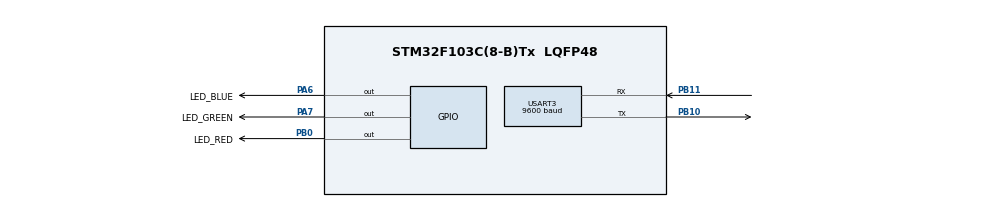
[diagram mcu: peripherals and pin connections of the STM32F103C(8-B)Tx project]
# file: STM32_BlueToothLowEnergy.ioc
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Dma.Request0=USART3_RX
Dma.Request1=USART3_TX
Dma.USART3_RX.0.Direction=DMA_PERIPH_TO_MEMORY
Dma.USART3_RX.0.Instance=DMA1_Channel3
Dma.USART3_RX.0.MemDataAlignment=DMA_MDATAALIGN_BYTE
Dma.USART3_RX.0.MemInc=DMA_MINC_ENABLE
Dma.USART3_RX.0.Mode=DMA_NORMAL
Dma.USART3_RX.0.PeriphDataAlignment=DMA_PDATAALIGN_BYTE
Dma.USART3_RX.0.PeriphInc=DMA_PINC_DISABLE
Dma.USART3_RX.0.Priority=DMA_PRIORITY_LOW
Dma.USART3_TX.1.Direction=DMA_MEMORY_TO_PERIPH
Dma.USART3_TX.1.Instance=DMA1_Channel2
Dma.USART3_TX.1.MemDataAlignment=DMA_MDATAALIGN_BYTE
Dma.USART3_TX.1.MemInc=DMA_MINC_ENABLE
Dma.USART3_TX.1.Mode=DMA_NORMAL
Dma.USART3_TX.1.PeriphDataAlignment=DMA_PDATAALIGN_BYTE
Dma.USART3_TX.1.PeriphInc=DMA_PINC_DISABLE
Dma.USART3_TX.1.Priority=DMA_PRIORITY_LOW
Mcu.Family=STM32F1
Mcu.Name=STM32F103C(8-B)Tx
Mcu.Package=LQFP48
NVIC.DMA1_Channel2_IRQn=true\:0\:0\:false\:false\:true\:false\:true\:true
NVIC.DMA1_Channel3_IRQn=true\:0\:0\:false\:false\:true\:false\:true\:true
NVIC.PriorityGroup=NVIC_PRIORITYGROUP_4
NVIC.USART3_IRQn=true\:0\:0\:false\:false\:true\:true\:true\:true
PA13.Mode=Serial_Wire
PA13.Signal=SYS_JTMS-SWDIO
PA14.Mode=Serial_Wire
PA14.Signal=SYS_JTCK-SWCLK
PA6.GPIO_Label=LED_BLUE
PA6.Signal=GPIO_Output
PA7.GPIO_Label=LED_GREEN
PA7.Signal=GPIO_Output
PB0.GPIO_Label=LED_RED
PB0.Signal=GPIO_Output
PB10.Mode=Asynchronous
PB10.Signal=USART3_TX
PB11.Mode=Asynchronous
PB11.Signal=USART3_RX
ProjectManager.HeapSize=0x200
ProjectManager.StackSize=0x400
ProjectManager.TargetToolchain=STM32CubeIDE
RCC.APB1Freq_Value=8000000
RCC.APB2Freq_Value=8000000
USART3.BaudRate=9600
USART3.VirtualMode=VM_ASYNC
board=custom

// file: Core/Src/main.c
/* USER CODE BEGIN Header */
/**
  ******************************************************************************
  * @file           : main.c
  * @brief          : Main program body
  ******************************************************************************
  * @attention
  *
  * Copyright (c) 2025 STMicroelectronics.
  * All rights reserved.
  *
  * This software is licensed under terms that can be found in the LICENSE file
  * in the root directory of this software component.
  * If no LICENSE file comes with this software, it is provided AS-IS.
  *
  ******************************************************************************
  */
/* USER CODE END Header */
#include "main.h"

UART_HandleTypeDef huart3;
DMA_HandleTypeDef hdma_usart3_rx;
DMA_HandleTypeDef hdma_usart3_tx;

/* USER CODE BEGIN PV */
uint8_t receiveData[30];
GPIO_PinState State=GPIO_PIN_RESET;
uint8_t answer[10]="HEAD OK";
/* USER CODE END PV */

void SystemClock_Config(void);
static void MX_GPIO_Init(void);
static void MX_DMA_Init(void);
static void MX_USART3_UART_Init(void);

/* USER CODE BEGIN 0 */
void HAL_UARTEx_RxEventCallback(UART_HandleTypeDef *huart, uint16_t Size)
{

	if(huart!=&huart3)	return;
	HAL_UART_Transmit_DMA(&huart3, receiveData, Size);
	HAL_UART_Transmit_DMA(&huart3, answer, 10);
	//协议(接收）
	//包头（第0位）0xAA 第一位为长度位 最后一位为校验和
		if (receiveData[0]==0xAA) {

			if(receiveData[1]==Size)
			{
				uint8_t sum=0;
				for ( int i= 0; i < Size-1; i++) {
					sum+=receiveData[i];
				}
				if (sum==receiveData[Size-1]) {

					for (int j= 2; j < Size-1;j+=2 ) {

						switch(receiveData[j+1])
						{
						case 0x00:
							State=GPIO_PIN_RESET;
							break;
						case 0xFF:
							State=GPIO_PIN_SET;
							break;
						default:
							break;
						}
						switch (receiveData[j]) {
							case 0x01:
								HAL_GPIO_WritePin(LED_RED_GPIO_Port, LED_RED_Pin, State);
								break;
							case 0x02:
								HAL_GPIO_WritePin(LED_GREEN_GPIO_Port, LED_GREEN_Pin, State);
								break;
							case 0x03:
								HAL_GPIO_WritePin(LED_GREEN_GPIO_Port, LED_BLUE_Pin, State);
								break;
							default:
								break;
						}
					}
				}

			}
		}

	//再次开启中断接收
	HAL_UARTEx_ReceiveToIdle_DMA(&huart3, receiveData, sizeof(receiveData));
	  __HAL_DMA_DISABLE_IT(&hdma_usart3_rx,DMA_IT_HT);
}
/* USER CODE END 0 */

int main(void)
{

  /* MCU Configuration--------------------------------------------------------*/

  /* Reset of all peripherals, Initializes the Flash interface and the Systick. */
  HAL_Init();

  /* Configure the system clock */
  SystemClock_Config();

  /* Initialize all configured peripherals */
  MX_GPIO_Init();
  MX_DMA_Init();
  MX_USART3_UART_Init();
  /* USER CODE BEGIN 2 */
  HAL_UARTEx_ReceiveToIdle_DMA(&huart3, receiveData, sizeof(receiveData));
  __HAL_DMA_DISABLE_IT(&hdma_usart3_rx,DMA_IT_HT);
  /* USER CODE END 2 */

  /* Infinite loop */
  while (1)
  {

  }
}

void SystemClock_Config(void)
{
  RCC_OscInitTypeDef RCC_OscInitStruct = {0};
  RCC_ClkInitTypeDef RCC_ClkInitStruct = {0};

  /** Initializes the RCC Oscillators according to the specified parameters
  * in the RCC_OscInitTypeDef structure.
  */
  RCC_OscInitStruct.OscillatorType = RCC_OSCILLATORTYPE_HSI;
  RCC_OscInitStruct.HSIState = RCC_HSI_ON;
  RCC_OscInitStruct.HSICalibrationValue = RCC_HSICALIBRATION_DEFAULT;
  RCC_OscInitStruct.PLL.PLLState = RCC_PLL_NONE;
  if (HAL_RCC_OscConfig(&RCC_OscInitStruct) != HAL_OK)
  {
    Error_Handler();
  }

  /** Initializes the CPU, AHB and APB buses clocks
  */
  RCC_ClkInitStruct.ClockType = RCC_CLOCKTYPE_HCLK|RCC_CLOCKTYPE_SYSCLK
                              |RCC_CLOCKTYPE_PCLK1|RCC_CLOCKTYPE_PCLK2;
  RCC_ClkInitStruct.SYSCLKSource = RCC_SYSCLKSOURCE_HSI;
  RCC_ClkInitStruct.AHBCLKDivider = RCC_SYSCLK_DIV1;
  RCC_ClkInitStruct.APB1CLKDivider = RCC_HCLK_DIV1;
  RCC_ClkInitStruct.APB2CLKDivider = RCC_HCLK_DIV1;

  if (HAL_RCC_ClockConfig(&RCC_ClkInitStruct, FLASH_LATENCY_0) != HAL_OK)
  {
    Error_Handler();
  }
}

static void MX_USART3_UART_Init(void)
{

  huart3.Instance = USART3;
  huart3.Init.BaudRate = 9600;
  huart3.Init.WordLength = UART_WORDLENGTH_8B;
  huart3.Init.StopBits = UART_STOPBITS_1;
  huart3.Init.Parity = UART_PARITY_NONE;
  huart3.Init.Mode = UART_MODE_TX_RX;
  huart3.Init.HwFlowCtl = UART_HWCONTROL_NONE;
  huart3.Init.OverSampling = UART_OVERSAMPLING_16;
  if (HAL_UART_Init(&huart3) != HAL_OK)
  {
    Error_Handler();
  }

}

static void MX_DMA_Init(void)
{

  /* DMA controller clock enable */
  __HAL_RCC_DMA1_CLK_ENABLE();

  /* DMA interrupt init */
  /* DMA1_Channel2_IRQn interrupt configuration */
  HAL_NVIC_SetPriority(DMA1_Channel2_IRQn, 0, 0);
  HAL_NVIC_EnableIRQ(DMA1_Channel2_IRQn);
  /* DMA1_Channel3_IRQn interrupt configuration */
  HAL_NVIC_SetPriority(DMA1_Channel3_IRQn, 0, 0);
  HAL_NVIC_EnableIRQ(DMA1_Channel3_IRQn);

}

static void MX_GPIO_Init(void)
{
  GPIO_InitTypeDef GPIO_InitStruct = {0};

  /* GPIO Ports Clock Enable */
  __HAL_RCC_GPIOA_CLK_ENABLE();
  __HAL_RCC_GPIOB_CLK_ENABLE();

  /*Configure GPIO pin Output Level */
  HAL_GPIO_WritePin(GPIOA, LED_BLUE_Pin|LED_GREEN_Pin, GPIO_PIN_RESET);

  /*Configure GPIO pin Output Level */
  HAL_GPIO_WritePin(LED_RED_GPIO_Port, LED_RED_Pin, GPIO_PIN_RESET);

  /*Configure GPIO pins : LED_BLUE_Pin LED_GREEN_Pin */
  GPIO_InitStruct.Pin = LED_BLUE_Pin|LED_GREEN_Pin;
  GPIO_InitStruct.Mode = GPIO_MODE_OUTPUT_PP;
  GPIO_InitStruct.Pull = GPIO_NOPULL;
  GPIO_InitStruct.Speed = GPIO_SPEED_FREQ_LOW;
  HAL_GPIO_Init(GPIOA, &GPIO_InitStruct);

  /*Configure GPIO pin : LED_RED_Pin */
  GPIO_InitStruct.Pin = LED_RED_Pin;
  GPIO_InitStruct.Mode = GPIO_MODE_OUTPUT_PP;
  GPIO_InitStruct.Pull = GPIO_NOPULL;
  GPIO_InitStruct.Speed = GPIO_SPEED_FREQ_LOW;
  HAL_GPIO_Init(LED_RED_GPIO_Port, &GPIO_InitStruct);

}

void Error_Handler(void)
{
  __disable_irq();
  while (1)
  {
  }
}
